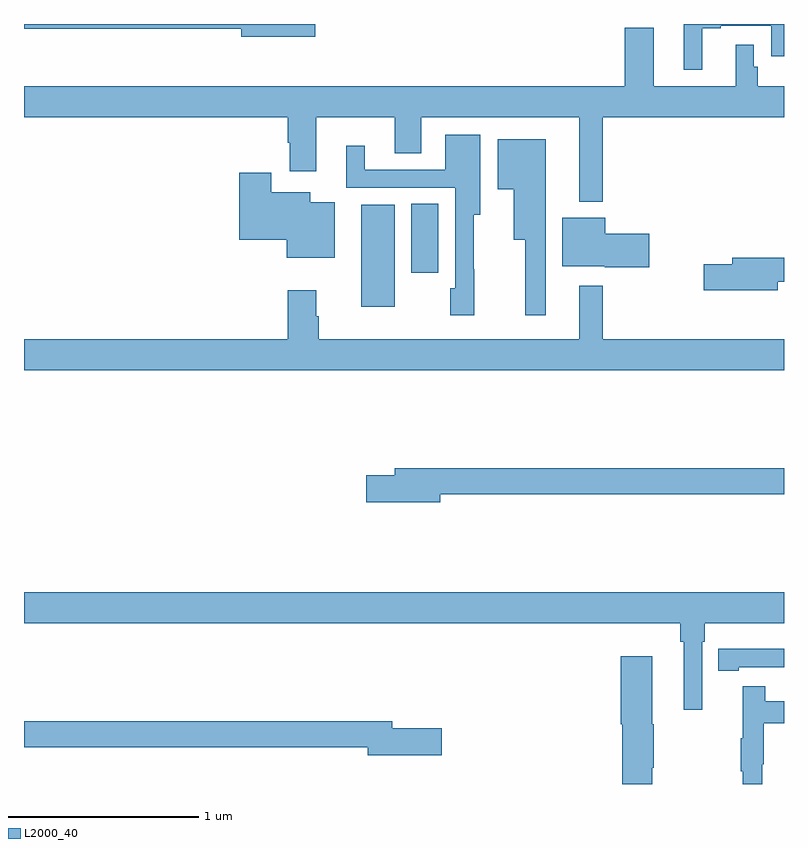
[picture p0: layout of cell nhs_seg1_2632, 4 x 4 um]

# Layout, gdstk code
import gdstk
lib = gdstk.Library(unit=1e-6, precision=1e-09)
def R(c, l, rs):  # rectangles x0, y0, x1, y1
    for r in rs: c.add(gdstk.rectangle(r[:2], r[2:], *l))
def P(c, l, *ps):  # polygons
    for p in ps: c.add(gdstk.Polygon(p, *l))
L2000_40 = (2000, 40)

nhs_seg1_2632 = lib.new_cell('nhs_seg1_2632')
R(nhs_seg1_2632, L2000_40, [(254.774,574.712,254.95,575.248), (255.038,574.89,255.181,575.252)])
P(nhs_seg1_2632, L2000_40, [(254.533,576.199),(253,576.199),(253,576.174),(254.144,576.174),(254.144,576.131),(254.533,576.131)],
  [(256.57,576.177),(256.666,576.177),(256.666,576.189),(256.932,576.189),(256.932,576.029),(257,576.029),(257,576.199),(256.472,576.199),(256.472,575.957),(256.57,575.957)],
  [(256.045,575.708),(257,575.708),(257,575.872),(256.862,575.872),(256.862,575.973),(256.842,575.973),(256.842,576.091),(256.745,576.091),(256.745,575.872),(256.315,575.872),(256.315,576.18),(256.163,576.18),(256.163,575.872),(253,575.872),(253,575.708),(254.387,575.708),(254.387,575.574),(254.399,575.574),(254.399,575.424),(254.539,575.424),(254.539,575.708),(254.951,575.708),(254.951,575.518),(255.091,575.518),(255.091,575.708),(255.923,575.708),(255.923,575.264),(256.045,575.264)],
  [(255.371,574.909),(255.368,574.909),(255.368,575.195),(255.4,575.195),(255.4,575.617),(255.218,575.617),(255.218,575.433),(254.794,575.433),(254.794,575.557),(254.696,575.557),(254.696,575.337),(255.27,575.337),(255.27,574.809),(255.244,574.809),(255.244,574.665),(255.371,574.665)],
  [(255.745,575.593),(255.494,575.593),(255.494,575.33),(255.578,575.33),(255.578,575.063),(255.639,575.063),(255.639,574.665),(255.745,574.665)],
  [(254.635,575.26),(254.506,575.26),(254.506,575.314),(254.302,575.314),(254.302,575.416),(254.132,575.416),(254.132,575.063),(254.384,575.063),(254.384,574.97),(254.635,574.97)],
  [(256.291,575.096),(256.06,575.096),(256.06,575.179),(255.833,575.179),(255.833,574.925),(256.056,574.925),(256.056,574.918),(256.291,574.918)],
  [(256.966,574.842),(257,574.842),(257,574.97),(256.727,574.97),(256.727,574.934),(256.578,574.934),(256.578,574.799),(256.966,574.799)],
  [(257,574.54),(256.045,574.54),(256.045,574.822),(255.923,574.822),(255.923,574.54),(254.552,574.54),(254.552,574.661),(254.539,574.661),(254.539,574.798),(254.387,574.798),(254.387,574.54),(253,574.54),(253,574.376),(257,574.376)],
  [(255.19,573.724),(257,573.724),(257,573.86),(254.951,573.86),(254.951,573.824),(254.802,573.824),(254.802,573.682),(255.19,573.682)],
  [(256.569,572.948),(256.583,572.948),(256.583,573.044),(257,573.044),(257,573.208),(253,573.208),(253,573.044),(256.453,573.044),(256.453,572.948),(256.472,572.948),(256.472,572.589),(256.569,572.589)],
  [(256.762,572.814),(257,572.814),(257,572.911),(256.762,572.911),(256.762,572.91),(256.654,572.91),(256.654,572.794),(256.762,572.794)],
  [(256.306,572.284),(256.314,572.284),(256.314,572.514),(256.306,572.514),(256.306,572.872),(256.142,572.872),(256.142,572.514),(256.148,572.514),(256.148,572.199),(256.306,572.199)],
  [(256.886,572.304),(256.894,572.304),(256.894,572.518),(257,572.518),(257,572.634),(256.901,572.634),(256.901,572.713),(256.784,572.713),(256.784,572.441),(256.773,572.441),(256.773,572.267),(256.784,572.267),(256.784,572.199),(256.886,572.199)],
  [(255.199,572.492),(254.938,572.492),(254.938,572.528),(253,572.528),(253,572.392),(254.81,572.392),(254.81,572.35),(255.199,572.35)])

lib.write_gds('nhs_seg1_2632.gds')
